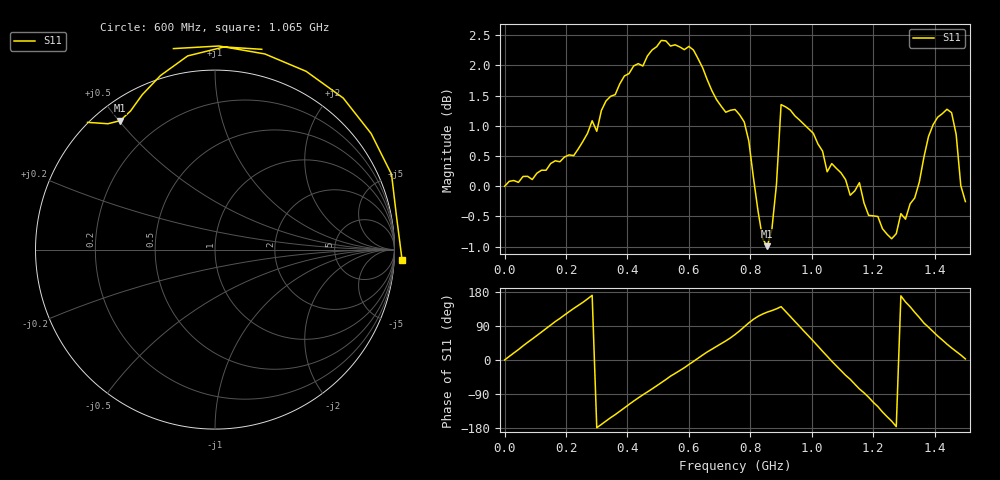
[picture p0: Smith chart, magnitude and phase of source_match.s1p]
! Created with skrf 1.8.0 (http://scikit-rf.org).
# Hz S RI R 50.0
!freq ReS11 ImS11
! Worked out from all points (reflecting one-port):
!   101 points, 50 kHz to 1.5 GHz, reference 50 ohm
!   lowest |S11| = -1.0 dB at 855 MHz (marker M1), VSWR 17.49, Z = 3.59 + j25.2 ohm
!   phase of S11 starts at 0 deg and turns +3 deg over the sweep
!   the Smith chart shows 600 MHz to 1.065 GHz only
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50000  0.9998 0.000506
4.50485e7  0.8936 0.4649
1.050465e8  0.4414 0.9251
1.950435e8  -0.5085 0.9269
2.850405e8  -1.118 0.1838
3.30039e8  -1.113 -0.3819
3.750375e8  -0.8638 -0.8554
4.20036e8  -0.3985 -1.193
4.80034e8  0.3081 -1.26
5.70031e8  1.152 -0.6113
6.450285e8  1.219 0.2881
7.50025e8  0.4495 1.067
8.10023e8  -0.3034 0.97
8.550215e8  -0.5287 0.7182
9.0002e8  -0.9051 0.739
9.450185e8  -0.2317 1.12
9.90017e8  0.5076 0.9934
1.035016e9  0.9837 0.4191
1.080014e9  0.9964 -0.2784
1.125012e9  0.6207 -0.762
1.155012e9  0.2382 -0.9781
1.21501e9  -0.5125 -0.7925
1.275008e9  -0.9109 -0.0665
1.320006e9  -0.7472 0.6136
1.365004e9  -0.1383 1.048
1.395004e9  0.2944 1.085
1.455002e9  0.977 0.6076
1.5e9  0.9698 0.0485
